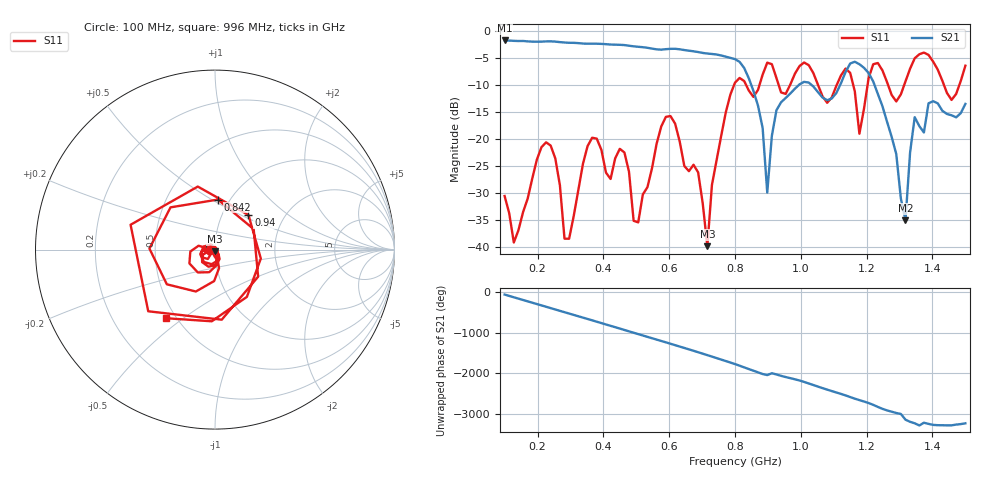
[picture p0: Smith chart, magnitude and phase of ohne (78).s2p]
! NanoVNA-App
! Date: 2025-09-26 09:56:00
! Start: 100MHz Stop: 1,5GHz Points: 101
! S-Parameter data: F S11 S21 S12 S22
# Hz S RI R 50
!  Frequency  S11_Real  S11_Imag  S21_Real  S21_Imag  S12_Real  S12_Imag  S22_Real  S22_Imag
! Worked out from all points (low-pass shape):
!   101 points, 100 MHz to 1.5 GHz, reference 50 ohm
!   highest |S21| = -1.79 dB at 100 MHz (marker M1); lowest = -35.1 dB at 1.318 GHz (marker M2)
!   |S21| within 3 dB of the highest: start of sweep to 771.5 MHz
!   lowest |S11| = -39.9 dB at 716 MHz (marker M3), VSWR 1.02, Z = 49.8 - j0.993 ohm
!   |S11| at or under -10 dB: start of sweep to 797.5 MHz; 833.4 MHz to 874.7 MHz (41.29 MHz wide, 4.84 % of centre); 1.052 GHz to 1.109 GHz (57.42 MHz wide, 5.31 % of centre) (the widest 3 of 7)
!   S12 and S22 are empty: the file has one direction only
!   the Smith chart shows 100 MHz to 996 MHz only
!   S11 on the Smith chart (normalised r, x): 100 MHz: 0.94, -0.01; 842 MHz: 0.88, +0.53; 940 MHz: 1.33, +0.55; 996 MHz: 0.44, -0.43
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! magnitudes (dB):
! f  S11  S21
! 100 MHz  -30.6  -1.8
! 128 MHz  -39.3  -1.9
! 226 MHz  -20.7  -2.0
! 296 MHz  -38.6  -2.2
! 338 MHz  -24.7  -2.4
! 464 MHz  -22.6  -2.6
! 506 MHz  -35.5  -3.0
! 576 MHz  -17.7  -3.5
! 688 MHz  -26.2  -3.9
! 716 MHz  -39.9  -4.2
! 800 MHz  -9.6  -5.2
! 842 MHz  -11.1  -8.8
! 898 MHz  -5.9  -30.0
! 940 MHz  -11.4  -13.2
! 996 MHz  -6.5  -9.9
! 1.038 GHz  -7.8  -10.3
! 1.178 GHz  -19.1  -6.2
! 1.22 GHz  -6.2  -9.4
! 1.276 GHz  -11.9  -19.7
! 1.318 GHz  -9.4  -35.1
! 1.346 GHz  -5.1  -16.0
! 1.5 GHz  -6.5  -13.6
